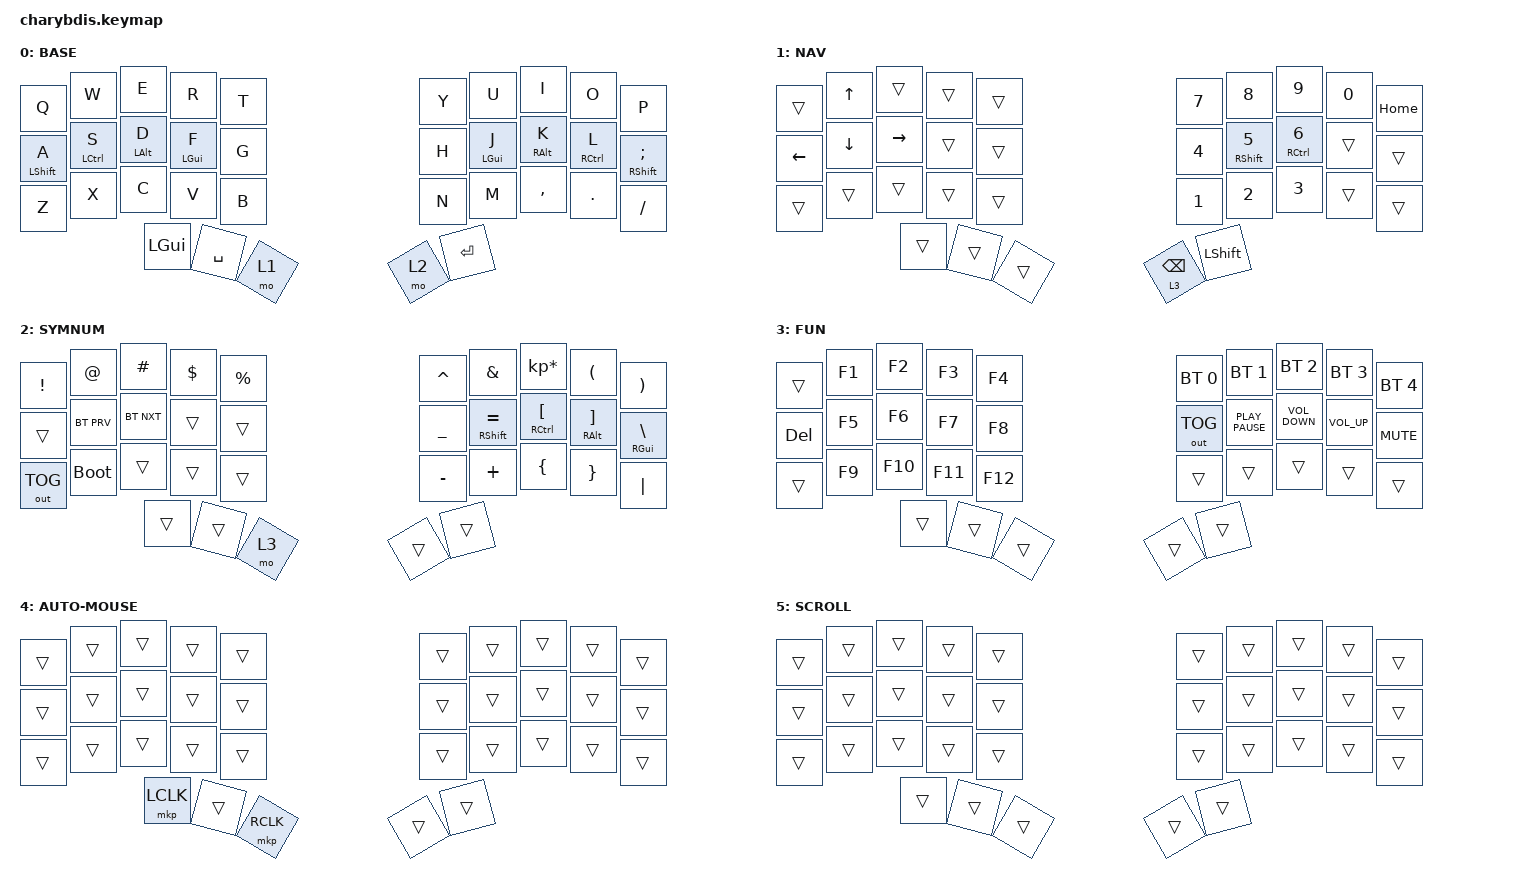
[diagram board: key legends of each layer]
#include <behaviors.dtsi>
#include <dt-bindings/zmk/keys.h>
#include <dt-bindings/zmk/bt.h>
#include <dt-bindings/zmk/ext_power.h>
#include <dt-bindings/zmk/mouse.h>
#include <dt-bindings/zmk/outputs.h>
#include <input/processors.dtsi>
#include <dt-bindings/zmk/input_transform.h>

#define U_TAPPING_TERM 200

/ {
    trackball_listener {
        compatible = "zmk,input-listener";
        device = <&trackball>;
        input-processors = <&zip_xy_scaler 1 2>, <&zip_temp_layer 4 400>; // Switch to auto-mouse temp layer, decrease sensitivity
        scroll {
            layers = <5>; // SCROLL
            input-processors = <&zip_xy_scaler 1 5>, <&zip_xy_to_scroll_mapper>, <&zip_scroll_transform (INPUT_TRANSFORM_Y_INVERT)>;
        };
    };

    combos {
        compatible = "zmk,combos";

        LeftClickRight {
            bindings = <&mkp LCLK>;
            key-positions = <16 17>;
        };

        RightClickRight {
            bindings = <&mkp RCLK>;
            key-positions = <17 18>;
        };

        MiddleClickRight {
            bindings = <&mkp MCLK>;
            key-positions = <18 19>;
        };

        ParaLeft {
            bindings = <&kp LEFT_PARENTHESIS>;
            key-positions = <3 13>;
        };

        ParaRight {
            bindings = <&kp RIGHT_PARENTHESIS>;
            key-positions = <6 16>;
        };

        BrakLeft {
            bindings = <&kp LEFT_BRACKET>;
            key-positions = <2 12>;
        };

        BrakRight {
            bindings = <&kp RIGHT_BRACKET>;
            key-positions = <7 17>;
        };

        BraceLeft {
            bindings = <&kp LEFT_BRACE>;
            key-positions = <1 11>;
        };

        BraceRight {
            bindings = <&kp RIGHT_BRACE>;
            key-positions = <8 18>;
        };

        Delete {
            bindings = <&kp DELETE>;
            key-positions = <7 8>;
        };

        CapsWord {
            bindings = <&caps_word>;
            key-positions = <14 15>;
        };
    };

    behaviors {
        u_mt: u_mt {
            compatible = "zmk,behavior-hold-tap";
            label = "u_mt";
            #binding-cells = <2>;
            tapping_term_ms = <U_TAPPING_TERM>;
            flavor = "tap-preferred";
            bindings = <&kp>, <&kp>;
        };

        u_lt: u_lt {
            compatible = "zmk,behavior-hold-tap";
            label = "u_lt";
            #binding-cells = <2>;
            tapping_term_ms = <U_TAPPING_TERM>;
            flavor = "tap-preferred";
            bindings = <&mo>, <&kp>;
        };

        Shift_Enter: Shift_Enter {
            compatible = "zmk,behavior-hold-tap";
            label = "SHIFT_ENTER";
            bindings = <&kp>, <&kp>;

            #binding-cells = <2>;
            hold-trigger-key-positions = <34>;
            tapping-term-ms = <100>;
        };
    };

    keymap {
        compatible = "zmk,keymap";

        BASE {
            bindings = <
&kp Q             &kp W             &kp E          &kp R               &kp T    &kp Y  &kp U               &kp I          &kp O              &kp P
&u_mt LEFT_SHIFT A  &u_mt LCTRL S  &u_mt LEFT_ALT D  &u_mt LEFT_GUI F  &kp G    &kp H  &u_mt LEFT_GUI J  &u_mt RIGHT_ALT K  &u_mt RCTRL L  &u_mt RIGHT_SHIFT SEMI
&kp Z             &kp X             &kp C          &kp V               &kp B    &kp N  &kp M               &kp COMMA      &kp DOT            &kp FSLH
                                 &kp LGUI       &kp SPACE           &mo 1    &mo 2  &kp RET
            >;
        };

        NAV {
            bindings = <
&trans    &kp UP    &trans     &trans  &trans    &kp N7           &kp N8                &kp N9          &kp N0  &kp HOME
&kp LEFT  &kp DOWN  &kp RIGHT  &trans  &trans    &kp N4           &u_mt RIGHT_SHIFT N5  &u_mt RCTRL N6  &trans  &trans
&trans    &trans    &trans     &trans  &trans    &kp N1           &kp N2                &kp N3          &trans  &trans
                            &trans     &trans  &trans    &lt 3 BACKSPACE  &kp LSHFT
            >;
        };

        SYMNUM {
            bindings = <
&kp EXCL      &kp AT       &kp HASH    &kp DLLR  &kp PRCNT    &kp CARET  &kp AMPS                 &kp KP_MULTIPLY   &kp LPAR              &kp RPAR
&trans        &bt BT_PRV   &bt BT_NXT  &trans    &trans       &kp UNDER  &u_mt RIGHT_SHIFT EQUAL  &u_mt RCTRL LBKT  &u_mt RIGHT_ALT RBKT  &u_mt RIGHT_GUI BSLH
&out OUT_TOG  &bootloader  &trans      &trans    &trans       &kp MINUS  &kp PLUS                 &kp LBRC          &kp RBRC              &kp PIPE
                                       &trans      &trans    &mo 3        &trans     &trans
            >;
        };

        FUN {
            bindings = <
&trans   &kp F1  &kp F2   &kp F3   &kp F4     &bt BT_SEL 0  &bt BT_SEL 1      &bt BT_SEL 2       &bt BT_SEL 3     &bt BT_SEL 4
&kp DEL  &kp F5  &kp F6   &kp F7   &kp F8     &out OUT_TOG  &kp K_PLAY_PAUSE  &kp C_VOLUME_DOWN  &kp C_VOLUME_UP  &kp C_MUTE
&trans   &kp F9  &kp F10  &kp F11  &kp F12    &trans        &trans            &trans             &trans           &trans
                         &trans   &trans   &trans     &trans        &trans
            >;
        };

        AUTO-MOUSE {
            bindings = <
&trans  &trans  &trans     &trans  &trans       &trans  &trans  &trans  &trans  &trans
&trans  &trans  &trans     &trans  &trans       &trans  &trans  &trans  &trans  &trans
&trans  &trans  &trans     &trans  &trans       &trans  &trans  &trans  &trans  &trans
                        &mkp LCLK  &trans  &mkp RCLK    &trans  &trans
            >;
        };

        SCROLL {
            bindings = <
&trans  &trans  &trans  &trans  &trans    &trans  &trans  &trans  &trans  &trans
&trans  &trans  &trans  &trans  &trans    &trans  &trans  &trans  &trans  &trans
&trans  &trans  &trans  &trans  &trans    &trans  &trans  &trans  &trans  &trans
                        &trans  &trans  &trans    &trans  &trans
            >;
        };
    };
};
